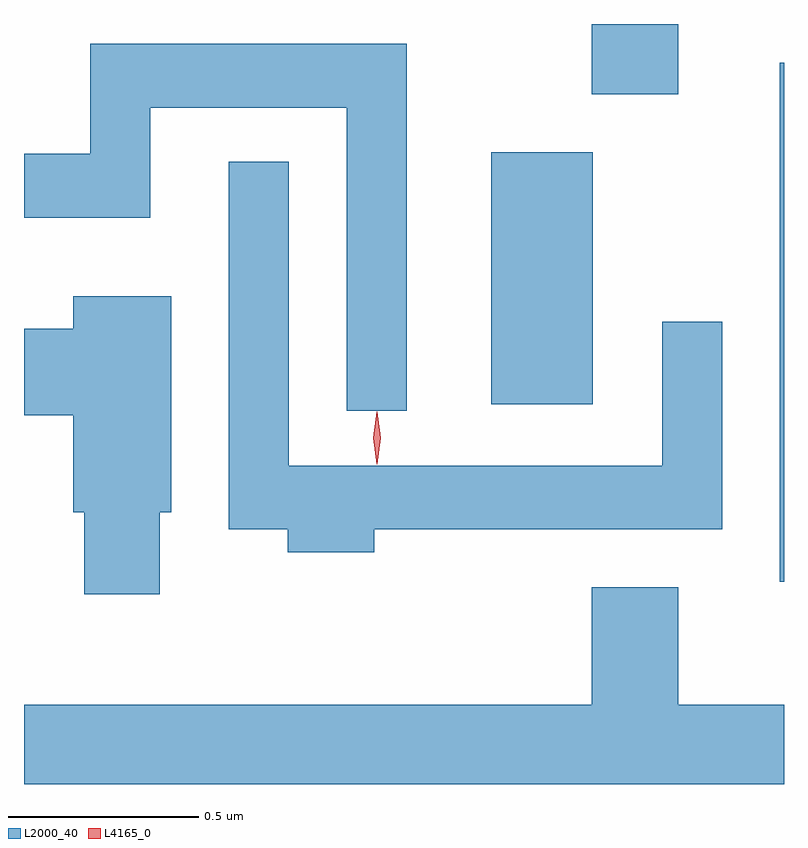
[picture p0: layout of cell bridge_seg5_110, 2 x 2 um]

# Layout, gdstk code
import gdstk
lib = gdstk.Library(unit=1e-6, precision=1e-09)
def R(c, l, rs):  # rectangles x0, y0, x1, y1
    for r in rs: c.add(gdstk.rectangle(r[:2], r[2:], *l))
def P(c, l, *ps):  # polygons
    for p in ps: c.add(gdstk.Polygon(p, *l))
L2000_40 = (2000, 40)
L4165_0 = (4165, 0)

bridge_seg5_110 = lib.new_cell('bridge_seg5_110')
R(bridge_seg5_110, L2000_40, [(1201.696,1499.568,1201.707,1500.934), (1200.936,1500.036,1201.204,1500.699), (1201.201,1500.851,1201.429,1501.036)])
P(bridge_seg5_110, L2000_40, [(1200.714,1500.984),(1199.881,1500.984),(1199.881,1500.694),(1199.707,1500.694),(1199.707,1500.526),(1200.039,1500.526),(1200.039,1500.816),(1200.556,1500.816),(1200.556,1500.018),(1200.714,1500.018)],
  [(1200.629,1499.706),(1201.544,1499.706),(1201.544,1500.253),(1201.386,1500.253),(1201.386,1499.874),(1200.404,1499.874),(1200.404,1500.673),(1200.246,1500.673),(1200.246,1499.706),(1200.401,1499.706),(1200.401,1499.646),(1200.629,1499.646)],
  [(1200.064,1499.751),(1200.094,1499.751),(1200.094,1500.319),(1199.836,1500.319),(1199.836,1500.234),(1199.707,1500.234),(1199.707,1500.006),(1199.836,1500.006),(1199.836,1499.751),(1199.866,1499.751),(1199.866,1499.536),(1200.064,1499.536)],
  [(1201.707,1499.244),(1201.429,1499.244),(1201.429,1499.554),(1201.201,1499.554),(1201.201,1499.244),(1199.707,1499.244),(1199.707,1499.036),(1201.707,1499.036)])
P(bridge_seg5_110, L4165_0, [(1200.636,1499.877),(1200.635,1499.878),(1200.626,1499.947),(1200.635,1500.016),(1200.636,1500.016),(1200.636,1500.016),(1200.646,1499.947),(1200.636,1499.878)],
  [(1200.636,1499.879),(1200.636,1499.88),(1200.626,1499.946),(1200.636,1500.012),(1200.636,1500.013),(1200.636,1500.012),(1200.646,1499.946),(1200.637,1499.88)])

lib.write_gds('bridge_seg5_110.gds')
